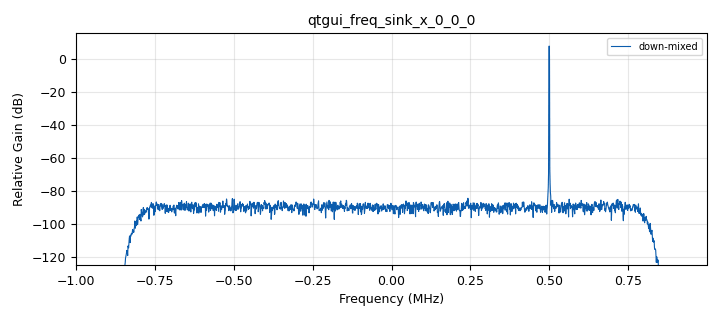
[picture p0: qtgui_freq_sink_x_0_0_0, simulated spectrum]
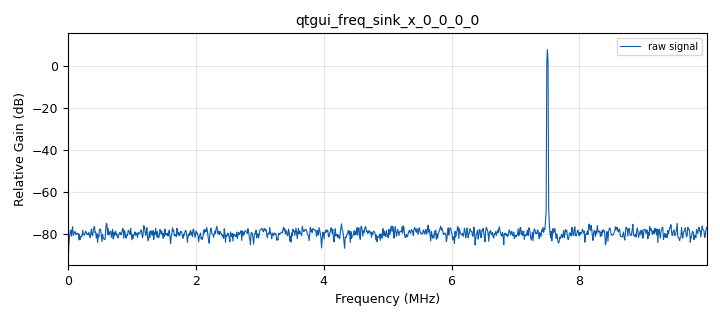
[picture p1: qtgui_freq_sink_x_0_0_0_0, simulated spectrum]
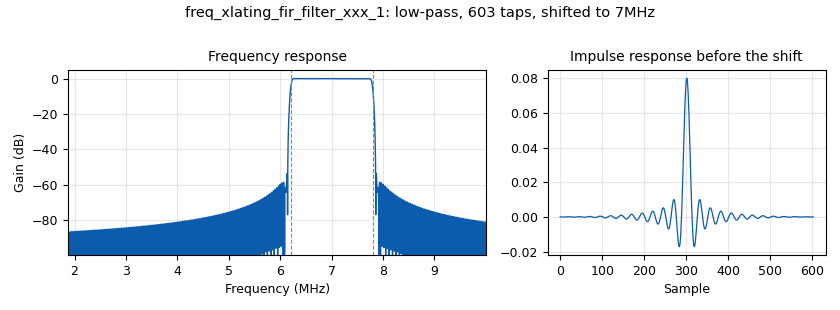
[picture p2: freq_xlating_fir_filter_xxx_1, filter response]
<?xml version='1.0' encoding='utf-8'?>
<?grc format='1' created='3.7.11'?>
<flow_graph>
<block>
<key>options</key>
<param><key>id</key><value>top_block</value></param>
<param><key>generate_options</key><value>qt_gui</value></param>
<param><key>realtime_scheduling</key><value>1</value></param>
<param><key>thread_safe_setters</key><value>1</value></param>
</block>
<block>
<key>variable_qtgui_range</key>
<param><key>id</key><value>bandWidth</value></param>
<param><key>value</key><value>8e5</value></param>
<param><key>orient</key><value>Qt.Horizontal</value></param>
<param><key>start</key><value>1e5</value></param>
<param><key>step</key><value>1e5</value></param>
<param><key>stop</key><value>2e6</value></param>
</block>
<block>
<key>variable_qtgui_range</key>
<param><key>id</key><value>centerFreq</value></param>
<param><key>value</key><value>7e6</value></param>
<param><key>orient</key><value>Qt.Horizontal</value></param>
<param><key>start</key><value>0</value></param>
<param><key>step</key><value>1e5</value></param>
<param><key>stop</key><value>10e6</value></param>
</block>
<block>
<key>variable</key>
<param><key>id</key><value>decimation</value></param>
<param><key>value</key><value>10</value></param>
</block>
<block>
<key>variable_qtgui_range</key>
<param><key>id</key><value>freq</value></param>
<param><key>value</key><value>7.5e6</value></param>
<param><key>orient</key><value>Qt.Horizontal</value></param>
<param><key>start</key><value>10e3</value></param>
<param><key>step</key><value>1e5</value></param>
<param><key>stop</key><value>10e6</value></param>
</block>
<block>
<key>variable</key>
<param><key>id</key><value>samp_rate</value></param>
<param><key>value</key><value>20000000</value></param>
</block>
<block>
<key>analog_noise_source_x</key>
<param><key>id</key><value>analog_noise_source_x_0_0</value></param>
<param><key>amp</key><value>0.01</value></param>
<param><key>noise_type</key><value>analog.GR_GAUSSIAN</value></param>
<param><key>type</key><value>float</value></param>
<param><key>seed</key><value>0</value></param>
</block>
<block>
<key>analog_sig_source_x</key>
<param><key>id</key><value>analog_sig_source_x_0_0_0</value></param>
<param><key>amp</key><value>10</value></param>
<param><key>freq</key><value>freq</value></param>
<param><key>offset</key><value>0</value></param>
<param><key>type</key><value>float</value></param>
<param><key>samp_rate</key><value>samp_rate</value></param>
<param><key>waveform</key><value>analog.GR_SIN_WAVE</value></param>
</block>
<block>
<key>blocks_add_xx</key>
<param><key>id</key><value>blocks_add_xx_0</value></param>
<param><key>type</key><value>float</value></param>
</block>
<block>
<key>blocks_throttle</key>
<param><key>id</key><value>blocks_throttle_0_0</value></param>
<param><key>samples_per_second</key><value>samp_rate</value></param>
<param><key>type</key><value>float</value></param>
</block>
<block>
<key>freq_xlating_fir_filter_xxx</key>
<param><key>id</key><value>freq_xlating_fir_filter_xxx_1</value></param>
<param><key>center_freq</key><value>centerFreq</value></param>
<param><key>decim</key><value>decimation</value></param>
<param><key>samp_rate</key><value>samp_rate</value></param>
<param><key>taps</key><value>firdes.low_pass(1,samp_rate, bandWidth, 0.1*bandWidth)</value></param>
<param><key>type</key><value>fcf</value></param>
</block>
<block>
<key>qtgui_freq_sink_x</key>
<param><key>id</key><value>qtgui_freq_sink_x_0_0_0</value></param>
<param><key>autoscale</key><value>True</value></param>
<param><key>average</key><value>0.2</value></param>
<param><key>bw</key><value>samp_rate/decimation</value></param>
<param><key>fc</key><value>0</value></param>
<param><key>fftsize</key><value>2048</value></param>
<param><key>grid</key><value>True</value></param>
<param><key>color1</key><value>"red"</value></param>
<param><key>label1</key><value>down-mixed</value></param>
<param><key>showports</key><value>True</value></param>
<param><key>freqhalf</key><value>False</value></param>
<param><key>type</key><value>complex</value></param>
<param><key>wintype</key><value>firdes.WIN_HANN</value></param>
</block>
<block>
<key>qtgui_freq_sink_x</key>
<param><key>id</key><value>qtgui_freq_sink_x_0_0_0_0</value></param>
<param><key>autoscale</key><value>True</value></param>
<param><key>average</key><value>0.2</value></param>
<param><key>bw</key><value>samp_rate</value></param>
<param><key>fc</key><value>0</value></param>
<param><key>fftsize</key><value>2048</value></param>
<param><key>grid</key><value>True</value></param>
<param><key>label1</key><value>raw signal</value></param>
<param><key>showports</key><value>True</value></param>
<param><key>freqhalf</key><value>False</value></param>
<param><key>type</key><value>float</value></param>
<param><key>wintype</key><value>firdes.WIN_HANN</value></param>
</block>
<connection><source_block_id>analog_noise_source_x_0_0</source_block_id><sink_block_id>blocks_add_xx_0</sink_block_id><source_key>0</source_key><sink_key>0</sink_key></connection>
<connection><source_block_id>analog_sig_source_x_0_0_0</source_block_id><sink_block_id>blocks_add_xx_0</sink_block_id><source_key>0</source_key><sink_key>1</sink_key></connection>
<connection><source_block_id>blocks_add_xx_0</source_block_id><sink_block_id>blocks_throttle_0_0</sink_block_id><source_key>0</source_key><sink_key>0</sink_key></connection>
<connection><source_block_id>blocks_add_xx_0</source_block_id><sink_block_id>freq_xlating_fir_filter_xxx_1</sink_block_id><source_key>0</source_key><sink_key>0</sink_key></connection>
<connection><source_block_id>blocks_throttle_0_0</source_block_id><sink_block_id>qtgui_freq_sink_x_0_0_0_0</sink_block_id><source_key>0</source_key><sink_key>0</sink_key></connection>
<connection><source_block_id>freq_xlating_fir_filter_xxx_1</source_block_id><sink_block_id>qtgui_freq_sink_x_0_0_0</sink_block_id><source_key>0</source_key><sink_key>0</sink_key></connection>
</flow_graph>
